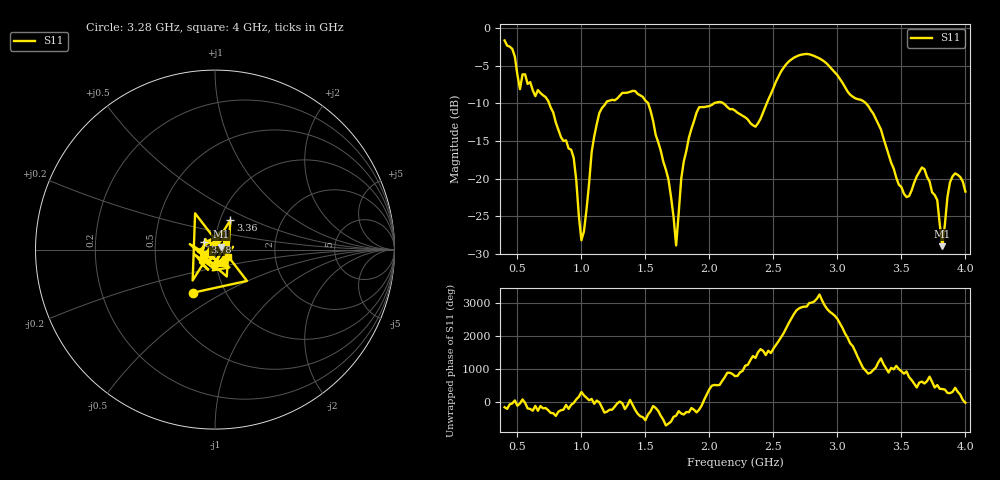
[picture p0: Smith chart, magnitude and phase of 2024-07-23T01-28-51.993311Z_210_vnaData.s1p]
!Created with skrf (http://scikit-rf.org).
# Hz S RI R 50.0
!freq ReS11 ImS11
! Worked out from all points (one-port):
!   181 points, 400 MHz to 4 GHz, reference 50 ohm
!   lowest |S11| = -29.0 dB at 3.82 GHz (marker M1), VSWR 1.07, Z = 53.3 + j1.7 ohm
!   |S11| at or under -10 dB: 747.7 MHz to 1.19 GHz (442 MHz wide, 45.6 % of centre); 1.521 GHz to 2.036 GHz (514.3 MHz wide, 28.9 % of centre); 3.223 GHz to end of sweep (the widest 3 of 4)
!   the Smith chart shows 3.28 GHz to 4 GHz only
!   S11 on the Smith chart (normalised r, x): 3.28 GHz: 0.70, -0.36; 3.36 GHz: 1.12, +0.38; 3.78 GHz: 0.88, +0.07; 4 GHz: 1.15, -0.10
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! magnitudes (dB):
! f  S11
! 400 MHz  -1.7
! 480 MHz  -3.8
! 520 MHz  -8.1
! 560 MHz  -6.2
! 720 MHz  -9.2
! 860 MHz  -15.0
! 940 MHz  -17.3
! 1 GHz  -28.2
! 1.14 GHz  -11.3
! 1.3 GHz  -9.0
! 1.52 GHz  -9.9
! 1.68 GHz  -20.1
! 1.74 GHz  -28.9
! 1.76 GHz  -24.6
! 1.8 GHz  -17.7
! 1.92 GHz  -10.5
! 2.2 GHz  -11.0
! 2.36 GHz  -13.1
! 2.66 GHz  -3.9
! 3.1 GHz  -8.9
! 3.28 GHz  -11.4
! 3.36 GHz  -14.6
! 3.56 GHz  -22.3
! 3.66 GHz  -18.5
! 3.78 GHz  -22.8
! 3.82 GHz  -29.0
! 3.88 GHz  -20.5
! 4 GHz  -21.7
